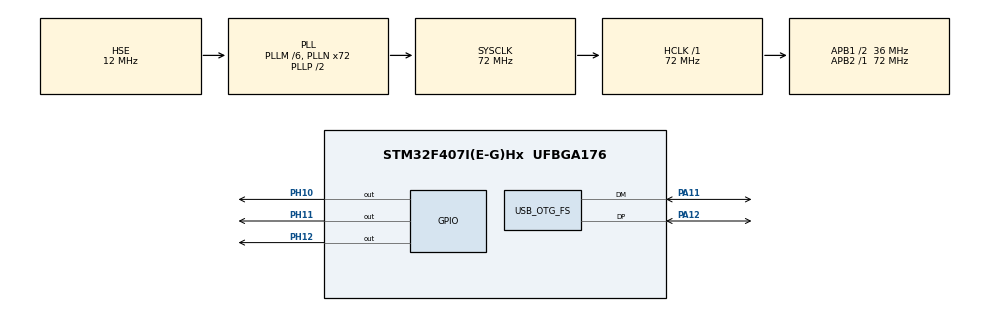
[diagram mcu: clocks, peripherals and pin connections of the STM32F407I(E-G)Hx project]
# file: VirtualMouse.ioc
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Mcu.Family=STM32F4
Mcu.Name=STM32F407I(E-G)Hx
Mcu.Package=UFBGA176
NVIC.OTG_FS_IRQn=true\:0\:0\:false\:false\:true\:false\:true\:true
NVIC.PriorityGroup=NVIC_PRIORITYGROUP_4
PA11.Mode=Device_Only
PA11.Signal=USB_OTG_FS_DM
PA12.Mode=Device_Only
PA12.Signal=USB_OTG_FS_DP
PA13.Mode=Serial_Wire
PA13.Signal=SYS_JTMS-SWDIO
PA14.Mode=Serial_Wire
PA14.Signal=SYS_JTCK-SWCLK
PH0-OSC_IN.Mode=HSE-External-Oscillator
PH0-OSC_IN.Signal=RCC_OSC_IN
PH1-OSC_OUT.Mode=HSE-External-Oscillator
PH1-OSC_OUT.Signal=RCC_OSC_OUT
PH10.Signal=GPIO_Output
PH11.Signal=GPIO_Output
PH12.Signal=GPIO_Output
ProjectManager.HeapSize=0x200
ProjectManager.StackSize=0x400
ProjectManager.TargetToolchain=STM32CubeIDE
RCC.48MHZClocksFreq_Value=48000000
RCC.AHBFreq_Value=72000000
RCC.APB1CLKDivider=RCC_HCLK_DIV2
RCC.APB1Freq_Value=36000000
RCC.APB1TimFreq_Value=72000000
RCC.APB2Freq_Value=72000000
RCC.APB2TimFreq_Value=72000000
RCC.CortexFreq_Value=72000000
RCC.HCLKFreq_Value=72000000
RCC.HSE_VALUE=12000000
RCC.HSI_VALUE=16000000
RCC.LSE_VALUE=32768
RCC.PLLM=6
RCC.PLLN=72
RCC.PLLQ=3
RCC.SYSCLKFreq_VALUE=72000000
RCC.SYSCLKSource=RCC_SYSCLKSOURCE_PLLCLK
RCC.VCOOutputFreq_Value=144000000
USB_DEVICE.CLASS_NAME_FS=HID
USB_DEVICE.MANUFACTURER_STRING-HID_FS=BUAA
USB_DEVICE.PID_HID_FS=0x1234
USB_DEVICE.PRODUCT_STRING_HID_FS=HVT
USB_DEVICE.VirtualMode-HID_FS=Hid
USB_DEVICE.VirtualModeFS=Hid_FS
USB_OTG_FS.VirtualMode=Device_Only
VP_USB_DEVICE_VS_USB_DEVICE_HID_FS.Mode=HID_FS
board=custom

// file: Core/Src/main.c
/* USER CODE BEGIN Header */
/**
 ******************************************************************************
 * @file           : main.c
 * @brief          : Main program body
 ******************************************************************************
 * @attention
 *
 * Copyright (c) 2023 STMicroelectronics.
 * All rights reserved.
 *
 * This software is licensed under terms that can be found in the LICENSE file
 * in the root directory of this software component.
 * If no LICENSE file comes with this software, it is provided AS-IS.
 *
 ******************************************************************************
 */
/* USER CODE END Header */
#include "main.h"
#include "usb_device.h"

/* USER CODE BEGIN Includes */
#include "usbd_hid.h"

/* USER CODE END Includes */

void SystemClock_Config(void);
static void MX_GPIO_Init(void);

/* USER CODE BEGIN 0 */
extern USBD_HandleTypeDef hUsbDeviceFS;

typedef struct {
	uint8_t button;
	int8_t mouse_x;
	int8_t mouse_y;
	int8_t wheel;
} mouseHID;

mouseHID mousehid = { 0, 0, 0, 0 };

void mouse_reset() {
	mousehid.mouse_x = 0;
	mousehid.mouse_y = 0;
	mousehid.wheel = 0;
	mousehid.button = 0;
}

void mouse_single_click() {
	mouse_reset();

	mousehid.button = 1;
	USBD_HID_SendReport(&hUsbDeviceFS, &mousehid, sizeof(mousehid));
	HAL_Delay(200);
	mousehid.button = 0;
	USBD_HID_SendReport(&hUsbDeviceFS, &mousehid, sizeof(mousehid));
	HAL_Delay(200);
}

void mouse_move(int8_t x, int8_t y) {
	mouse_reset();

	mousehid.mouse_x = x;
	mousehid.mouse_y = y;
	USBD_HID_SendReport(&hUsbDeviceFS, &mousehid, sizeof(mousehid));

	HAL_Delay(100);
}

void mouse_move_to_origin() {
	for (int i = 0; i < 5; ++i) {
		mouse_move(127, 127);
		HAL_Delay(50);
	}
}

void light_red() {
	HAL_GPIO_WritePin(GPIOH, GPIO_PIN_10 | GPIO_PIN_11 | GPIO_PIN_12, GPIO_PIN_RESET);
	HAL_GPIO_WritePin(GPIOH, GPIO_PIN_12, GPIO_PIN_SET);
}

void light_green() {
	HAL_GPIO_WritePin(GPIOH, GPIO_PIN_10 | GPIO_PIN_11 | GPIO_PIN_12, GPIO_PIN_RESET);
	HAL_GPIO_WritePin(GPIOH, GPIO_PIN_11, GPIO_PIN_SET);

}

void light_blue() {
	HAL_GPIO_WritePin(GPIOH, GPIO_PIN_10 | GPIO_PIN_11 | GPIO_PIN_12, GPIO_PIN_RESET);
	HAL_GPIO_WritePin(GPIOH, GPIO_PIN_10, GPIO_PIN_SET);
}

/* USER CODE END 0 */

int main(void) {

	/* MCU Configuration--------------------------------------------------------*/

	/* Reset of all peripherals, Initializes the Flash interface and the Systick. */
	HAL_Init();

	/* Configure the system clock */
	SystemClock_Config();

	/* Initialize all configured peripherals */
	MX_GPIO_Init();
	MX_USB_DEVICE_Init();
	/* USER CODE BEGIN 2 */

	// 初始化鼠标位置
	/* USER CODE END 2 */

	/* Infinite loop */
	while (1) {
		/* USER CODE BEGIN 3 */

		// XXX 当前的设置可能与鼠标灵敏度有关系 需要改成可以配置的
		// 点广告键
		light_red();
		mouse_move_to_origin();
		mouse_move(-24, 0);
		mouse_single_click();

		// 点观看键
		mouse_move(-128, -128);
		mouse_move(-40, -128);
		mouse_move(0, -48);
		mouse_single_click();

		// 点击关闭广告
		light_green();
		mouse_move_to_origin();
		mouse_move(-9, -36);

		// 等待广告播放完 点击关闭
		HAL_Delay(32 * 1000);
		mouse_single_click();

		// 等待下一段广告刷新
		light_blue();
		HAL_Delay(3 * 1000);

		// 循环
//		HAL_Delay(1000000000);

	}
	/* USER CODE END 3 */
}

void SystemClock_Config(void) {
	RCC_OscInitTypeDef RCC_OscInitStruct = { 0 };
	RCC_ClkInitTypeDef RCC_ClkInitStruct = { 0 };

	/** Configure the main internal regulator output voltage
	 */
	__HAL_RCC_PWR_CLK_ENABLE();
	__HAL_PWR_VOLTAGESCALING_CONFIG(PWR_REGULATOR_VOLTAGE_SCALE1);

	/** Initializes the RCC Oscillators according to the specified parameters
	 * in the RCC_OscInitTypeDef structure.
	 */
	RCC_OscInitStruct.OscillatorType = RCC_OSCILLATORTYPE_HSE;
	RCC_OscInitStruct.HSEState = RCC_HSE_ON;
	RCC_OscInitStruct.PLL.PLLState = RCC_PLL_ON;
	RCC_OscInitStruct.PLL.PLLSource = RCC_PLLSOURCE_HSE;
	RCC_OscInitStruct.PLL.PLLM = 6;
	RCC_OscInitStruct.PLL.PLLN = 72;
	RCC_OscInitStruct.PLL.PLLP = RCC_PLLP_DIV2;
	RCC_OscInitStruct.PLL.PLLQ = 3;
	if (HAL_RCC_OscConfig(&RCC_OscInitStruct) != HAL_OK) {
		Error_Handler();
	}

	/** Initializes the CPU, AHB and APB buses clocks
	 */
	RCC_ClkInitStruct.ClockType = RCC_CLOCKTYPE_HCLK | RCC_CLOCKTYPE_SYSCLK | RCC_CLOCKTYPE_PCLK1 | RCC_CLOCKTYPE_PCLK2;
	RCC_ClkInitStruct.SYSCLKSource = RCC_SYSCLKSOURCE_PLLCLK;
	RCC_ClkInitStruct.AHBCLKDivider = RCC_SYSCLK_DIV1;
	RCC_ClkInitStruct.APB1CLKDivider = RCC_HCLK_DIV2;
	RCC_ClkInitStruct.APB2CLKDivider = RCC_HCLK_DIV1;

	if (HAL_RCC_ClockConfig(&RCC_ClkInitStruct, FLASH_LATENCY_2) != HAL_OK) {
		Error_Handler();
	}
}

static void MX_GPIO_Init(void) {
	GPIO_InitTypeDef GPIO_InitStruct = { 0 };

	/* GPIO Ports Clock Enable */
	__HAL_RCC_GPIOA_CLK_ENABLE();
	__HAL_RCC_GPIOH_CLK_ENABLE();

	/*Configure GPIO pin Output Level */
	HAL_GPIO_WritePin(GPIOH, GPIO_PIN_12 | GPIO_PIN_11 | GPIO_PIN_10, GPIO_PIN_RESET);

	/*Configure GPIO pins : PH12 PH11 PH10 */
	GPIO_InitStruct.Pin = GPIO_PIN_12 | GPIO_PIN_11 | GPIO_PIN_10;
	GPIO_InitStruct.Mode = GPIO_MODE_OUTPUT_PP;
	GPIO_InitStruct.Pull = GPIO_NOPULL;
	GPIO_InitStruct.Speed = GPIO_SPEED_FREQ_LOW;
	HAL_GPIO_Init(GPIOH, &GPIO_InitStruct);

}

void Error_Handler(void) {
	__disable_irq();
	while (1) {
	}
}
